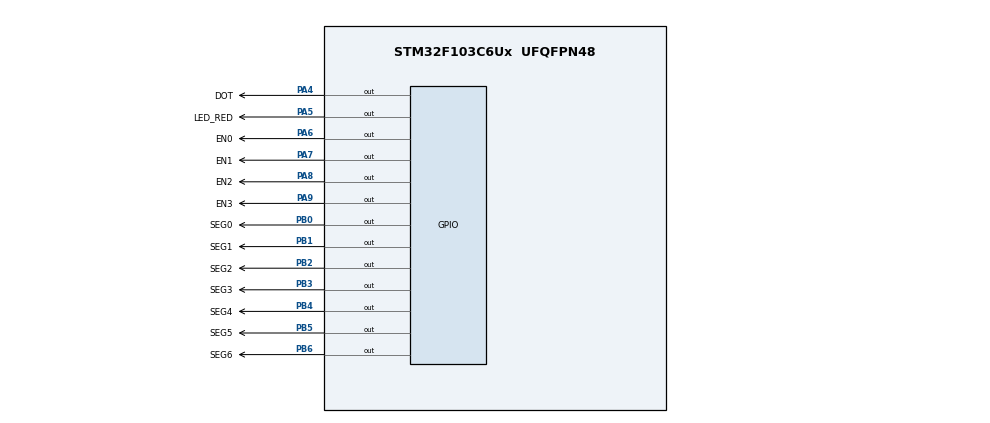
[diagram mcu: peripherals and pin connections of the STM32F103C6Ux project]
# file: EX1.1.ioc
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Mcu.Family=STM32F1
Mcu.Name=STM32F103C6Ux
Mcu.Package=UFQFPN48
NVIC.PriorityGroup=NVIC_PRIORITYGROUP_4
NVIC.TIM2_IRQn=true\:0\:0\:false\:false\:true\:true\:true
PA4.GPIO_Label=DOT
PA4.Signal=GPIO_Output
PA5.GPIO_Label=LED_RED
PA5.Signal=GPIO_Output
PA6.GPIO_Label=EN0
PA6.Signal=GPIO_Output
PA7.GPIO_Label=EN1
PA7.Signal=GPIO_Output
PA8.GPIO_Label=EN2
PA8.Signal=GPIO_Output
PA9.GPIO_Label=EN3
PA9.Signal=GPIO_Output
PB0.GPIO_Label=SEG0
PB0.Signal=GPIO_Output
PB1.GPIO_Label=SEG1
PB1.Signal=GPIO_Output
PB2.GPIO_Label=SEG2
PB2.Signal=GPIO_Output
PB3.GPIO_Label=SEG3
PB3.Signal=GPIO_Output
PB4.GPIO_Label=SEG4
PB4.Signal=GPIO_Output
PB5.GPIO_Label=SEG5
PB5.Signal=GPIO_Output
PB6.GPIO_Label=SEG6
PB6.Signal=GPIO_Output
ProjectManager.HeapSize=0x200
ProjectManager.StackSize=0x400
ProjectManager.TargetToolchain=STM32CubeIDE
RCC.APB1Freq_Value=8000000
RCC.APB2Freq_Value=8000000
TIM2.Period=9
TIM2.Prescaler=7999
VP_SYS_VS_ND.Mode=No_Debug
VP_TIM2_VS_ClockSourceINT.Mode=Internal
board=custom

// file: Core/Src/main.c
/* USER CODE BEGIN Header */
/**
  ******************************************************************************
  * @file           : main.c
  * @brief          : Main program body
  ******************************************************************************
  * @attention
  *
  * <h2><center>&copy; Copyright (c) 2022 STMicroelectronics.
  * All rights reserved.</center></h2>
  *
  * This software component is licensed by ST under BSD 3-Clause license,
  * the "License"; You may not use this file except in compliance with the
  * License. You may obtain a copy of the License at:
  *                        opensource.org/licenses/BSD-3-Clause
  *
  ******************************************************************************
  */
/* USER CODE END Header */
#include "main.h"

/* USER CODE BEGIN Includes */
#include "software_timer.h"
/* USER CODE END Includes */

TIM_HandleTypeDef htim2;

void SystemClock_Config(void);
static void MX_GPIO_Init(void);
static void MX_TIM2_Init(void);

/* USER CODE BEGIN 0 */
const int MAX_LED = 4;
int index_led = 0;
int hour = 15, minute = 8, second = 57;
int led_buffer[4] = {1,2,3,4};
int pinControll7SEG[4] = {EN0_Pin, EN1_Pin, EN2_Pin, EN3_Pin};

/* USER CODE END 0 */
void clearLed() {
	HAL_GPIO_WritePin(GPIOA, EN0_Pin | EN1_Pin | EN2_Pin | EN3_Pin, SET);
}

void clearPin(int index) {
  HAL_GPIO_WritePin(GPIOA, pinControll7SEG[index], SET);
}

void enablePin(int index) {
	HAL_GPIO_WritePin(GPIOA, pinControll7SEG[index], RESET);
}

void display7SEG(int num) {
    char segNumber[10] = {0xC0, 0xF9, 0xA4, 0xB0, 0x99, 0x92, 0x82, 0xF8, 0x80, 0x90};
    for (int i = 0; i < 7; ++i) {
        HAL_GPIO_WritePin(GPIOB, GPIO_PIN_0 << i, (segNumber[num] >> i) & 1);
    }
}

void clearEnable(){
	HAL_GPIO_WritePin(EN0_GPIO_Port, EN0_Pin, 1);
	HAL_GPIO_WritePin(EN1_GPIO_Port, EN1_Pin, 1);
	HAL_GPIO_WritePin(EN2_GPIO_Port, EN2_Pin, 1);
	HAL_GPIO_WritePin(EN3_GPIO_Port, EN3_Pin, 1);
}

void update7SEG(int index) {
	clearLed();
	clearEnable();
	switch(index) {
	 // Display the first 7 SEG with led_buffer [0]
	  case 0: {
		  display7SEG(led_buffer[0]);
		  enablePin(0);
		  break;
	  }
	  // Display the first 7 SEG with led_buffer [1]
	  case 1: {
		  display7SEG(led_buffer[1]);
		  enablePin(1);
		  break;
	  }
	  // Display the first 7 SEG with led_buffer [2]
	  case 2: {
		  display7SEG(led_buffer[2]);
		  enablePin(2);
		  break;
	  }
	  // Display the first 7 SEG with led_buffer [3]
	  case 3: {
		  display7SEG(led_buffer[3]);
		  enablePin(3);
		  break;
	  }
	}
}

void updateClockBuffer() {
    led_buffer[0] = hour / 10;
    led_buffer[1] = hour % 10;
    led_buffer[2] = minute / 10;
    led_buffer[3] = minute % 10;
}

int main(void)
{

  /* MCU Configuration--------------------------------------------------------*/

  /* Reset of all peripherals, Initializes the Flash interface and the Systick. */
  HAL_Init();

  /* Configure the system clock */
  SystemClock_Config();

  /* Initialize all configured peripherals */
  MX_GPIO_Init();
  MX_TIM2_Init();
  /* USER CODE BEGIN 2 */
  HAL_TIM_Base_Start_IT(&htim2);
  /* USER CODE END 2 */

  /* Infinite loop */
  /* USER CODE BEGIN WHILE */

//  clearLed();
  setTimer1(1000);
//  setTimer2(50);
  setTimer3(1000);
  while (1)
  {
	  // LED BLINK AND DOT
	  if(timer1_flag == 1) {
		HAL_GPIO_TogglePin(LED_RED_GPIO_Port, LED_RED_Pin);
		HAL_GPIO_TogglePin(DOT_GPIO_Port, DOT_Pin);
		setTimer1(1000);
	  }
	  // UPDATE TIME
	  if(timer3_flag == 1) {
		  second++;
		  if (second >= 60){
			  second = 0;
			  minute++;
		  }
		  if(minute >= 60){
			  minute = 0;
			  hour++;
		  }
		  if(hour >= 24){
			  hour = 0;
		  }
		  updateClockBuffer();
		  setTimer3(1000);
	  }
    /* USER CODE END WHILE */
  }
}

void SystemClock_Config(void)
{
  RCC_OscInitTypeDef RCC_OscInitStruct = {0};
  RCC_ClkInitTypeDef RCC_ClkInitStruct = {0};

  /** Initializes the RCC Oscillators according to the specified parameters
  * in the RCC_OscInitTypeDef structure.
  */
  RCC_OscInitStruct.OscillatorType = RCC_OSCILLATORTYPE_HSI;
  RCC_OscInitStruct.HSIState = RCC_HSI_ON;
  RCC_OscInitStruct.HSICalibrationValue = RCC_HSICALIBRATION_DEFAULT;
  RCC_OscInitStruct.PLL.PLLState = RCC_PLL_NONE;
  if (HAL_RCC_OscConfig(&RCC_OscInitStruct) != HAL_OK)
  {
    Error_Handler();
  }
  /** Initializes the CPU, AHB and APB buses clocks
  */
  RCC_ClkInitStruct.ClockType = RCC_CLOCKTYPE_HCLK|RCC_CLOCKTYPE_SYSCLK
                              |RCC_CLOCKTYPE_PCLK1|RCC_CLOCKTYPE_PCLK2;
  RCC_ClkInitStruct.SYSCLKSource = RCC_SYSCLKSOURCE_HSI;
  RCC_ClkInitStruct.AHBCLKDivider = RCC_SYSCLK_DIV1;
  RCC_ClkInitStruct.APB1CLKDivider = RCC_HCLK_DIV1;
  RCC_ClkInitStruct.APB2CLKDivider = RCC_HCLK_DIV1;

  if (HAL_RCC_ClockConfig(&RCC_ClkInitStruct, FLASH_LATENCY_0) != HAL_OK)
  {
    Error_Handler();
  }
}

static void MX_TIM2_Init(void)
{

  TIM_ClockConfigTypeDef sClockSourceConfig = {0};
  TIM_MasterConfigTypeDef sMasterConfig = {0};

  htim2.Instance = TIM2;
  htim2.Init.Prescaler = 7999;
  htim2.Init.CounterMode = TIM_COUNTERMODE_UP;
  htim2.Init.Period = 9;
  htim2.Init.ClockDivision = TIM_CLOCKDIVISION_DIV1;
  htim2.Init.AutoReloadPreload = TIM_AUTORELOAD_PRELOAD_DISABLE;
  if (HAL_TIM_Base_Init(&htim2) != HAL_OK)
  {
    Error_Handler();
  }
  sClockSourceConfig.ClockSource = TIM_CLOCKSOURCE_INTERNAL;
  if (HAL_TIM_ConfigClockSource(&htim2, &sClockSourceConfig) != HAL_OK)
  {
    Error_Handler();
  }
  sMasterConfig.MasterOutputTrigger = TIM_TRGO_RESET;
  sMasterConfig.MasterSlaveMode = TIM_MASTERSLAVEMODE_DISABLE;
  if (HAL_TIMEx_MasterConfigSynchronization(&htim2, &sMasterConfig) != HAL_OK)
  {
    Error_Handler();
  }

}

static void MX_GPIO_Init(void)
{
  GPIO_InitTypeDef GPIO_InitStruct = {0};

  /* GPIO Ports Clock Enable */
  __HAL_RCC_GPIOA_CLK_ENABLE();
  __HAL_RCC_GPIOB_CLK_ENABLE();

  /*Configure GPIO pin Output Level */
  HAL_GPIO_WritePin(GPIOA, GPIO_PIN_4|GPIO_PIN_5|GPIO_PIN_6|GPIO_PIN_7
                          |GPIO_PIN_8|GPIO_PIN_9, GPIO_PIN_RESET);

  /*Configure GPIO pin Output Level */
  HAL_GPIO_WritePin(GPIOB, GPIO_PIN_0|GPIO_PIN_1|GPIO_PIN_2|GPIO_PIN_3
                          |GPIO_PIN_4|GPIO_PIN_5|GPIO_PIN_6, GPIO_PIN_RESET);

  /*Configure GPIO pins : PA4 PA5 PA6 PA7
                           PA8 PA9 */
  GPIO_InitStruct.Pin = GPIO_PIN_4|GPIO_PIN_5|GPIO_PIN_6|GPIO_PIN_7
                          |GPIO_PIN_8|GPIO_PIN_9;
  GPIO_InitStruct.Mode = GPIO_MODE_OUTPUT_PP;
  GPIO_InitStruct.Pull = GPIO_NOPULL;
  GPIO_InitStruct.Speed = GPIO_SPEED_FREQ_LOW;
  HAL_GPIO_Init(GPIOA, &GPIO_InitStruct);

  /*Configure GPIO pins : PB0 PB1 PB2 PB3
                           PB4 PB5 PB6 */
  GPIO_InitStruct.Pin = GPIO_PIN_0|GPIO_PIN_1|GPIO_PIN_2|GPIO_PIN_3
                          |GPIO_PIN_4|GPIO_PIN_5|GPIO_PIN_6;
  GPIO_InitStruct.Mode = GPIO_MODE_OUTPUT_PP;
  GPIO_InitStruct.Pull = GPIO_NOPULL;
  GPIO_InitStruct.Speed = GPIO_SPEED_FREQ_LOW;
  HAL_GPIO_Init(GPIOB, &GPIO_InitStruct);

}

/* USER CODE BEGIN 4 */
int countLed = 5;
void HAL_TIM_PeriodElapsedCallback(TIM_HandleTypeDef *htim)
{
	if(countLed <= 0) {
		update7SEG(index_led);
		index_led++;
		if(index_led >= 4) index_led = 0;
		countLed = 5;
	}
	countLed--;
	timerRun();
}
/* USER CODE END 4 */

void Error_Handler(void)
{
  __disable_irq();
  while (1)
  {
  }
}

/************************ (C) COPYRIGHT STMicroelectronics *****END OF FILE****/
